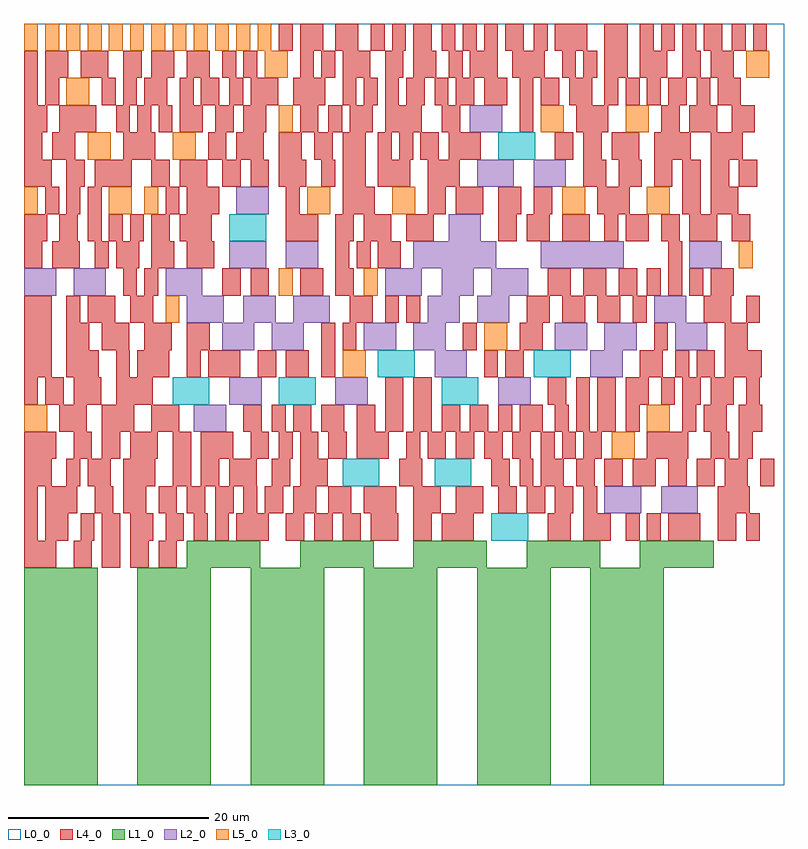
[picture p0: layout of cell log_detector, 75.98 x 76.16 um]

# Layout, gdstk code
import gdstk
lib = gdstk.Library(unit=1e-6, precision=1e-09)
def R(c, l, rs):  # rectangles x0, y0, x1, y1
    for r in rs: c.add(gdstk.rectangle(r[:2], r[2:], *l))
def A(c, l, x, y, w, h, nx, ny, dx, dy):  # array of equal rectangles
    R(c, l, [(x+i*dx, y+j*dy, x+i*dx+w, y+j*dy+h) for i in range(nx) for j in range(ny)])
L0_0 = (0, 0)
L1_0 = (1, 0)
L2_0 = (2, 0)
L3_0 = (3, 0)
L4_0 = (4, 0)
L5_0 = (5, 0)

log_detector = lib.new_cell('log_detector')
R(log_detector, L0_0, [(0,0,75.976,76.16)])
A(log_detector, L1_0, 0, 2.72, 7.36, 2.72, 6, 7, 11.323, 2.72)
A(log_detector, L1_0, 16.277, 21.76, 7.36, 2.72, 5, 1, 11.323, 0)
R(log_detector, L1_0, [(0,0,7.36,2.72), (0,0,7.36,2.72), (0,0,7.36,2.72), (11.323,0,18.683,2.72), (11.323,0,18.683,2.72), (11.323,0,18.683,2.72), (22.646,0,30.006,2.72), (22.646,0,30.006,2.72), (22.646,0,30.006,2.72), (33.969,0,41.329,2.72), (33.969,0,41.329,2.72), (45.292,0,52.652,2.72), (45.292,0,52.652,2.72), (56.615,0,63.975,2.72), (56.615,0,63.975,2.72)])
R(log_detector, L2_0, [(58.031,27.2,61.711,29.92), (63.692,27.2,67.372,29.92), (16.985,35.36,20.205,38.08), (20.523,38.08,23.743,40.8), (31.138,38.08,34.358,40.8), (47.415,38.08,50.635,40.8), (41.046,40.8,44.266,43.52), (56.615,40.8,59.835,43.52), (19.815,43.52,23.035,46.24), (24.769,43.52,27.989,46.24), (33.969,43.52,37.189,46.24), (38.923,43.52,42.143,46.24), (53.077,43.52,56.297,46.24), (58.031,43.52,61.251,46.24), (65.108,43.52,68.328,46.24), (16.277,46.24,19.957,48.96), (21.938,46.24,25.158,48.96), (26.892,46.24,30.572,48.96), (40.338,46.24,43.558,48.96), (45.292,46.24,48.512,48.96), (62.985,46.24,66.205,48.96), (0,48.96,3.22,51.68), (4.954,48.96,8.174,51.68), (14.154,48.96,17.834,51.68), (36.092,48.96,39.772,51.68), (41.754,48.96,44.974,51.68), (46.708,48.96,50.388,51.68), (20.523,51.68,24.203,54.4), (26.185,51.68,29.405,54.4), (38.923,51.68,47.203,54.4), (51.662,51.68,59.942,54.4), (66.523,51.68,69.743,54.4), (42.462,54.4,45.682,57.12), (21.231,57.12,24.451,59.84), (45.292,59.84,48.972,62.56), (50.954,59.84,54.174,62.56), (44.585,65.28,47.805,68)])
R(log_detector, L3_0, [(46.708,24.48,50.388,27.2), (31.846,29.92,35.526,32.64), (41.046,29.92,44.726,32.64), (14.862,38.08,18.542,40.8), (25.477,38.08,29.157,40.8), (41.754,38.08,45.434,40.8), (35.385,40.8,39.065,43.52), (50.954,40.8,54.634,43.52), (20.523,54.4,24.203,57.12), (47.415,62.56,51.095,65.28)])
A(log_detector, L4_0, 13.446, 27.2, 1.84, 2.72, 3, 1, 2.831, 0)
A(log_detector, L4_0, 47.415, 27.2, 1.84, 2.72, 3, 1, 2.831, 0)
A(log_detector, L4_0, 51.662, 29.92, 2.3, 2.72, 3, 1, 9.2, 0)
A(log_detector, L4_0, 40.338, 32.64, 1.84, 2.72, 4, 1, 2.831, 0)
A(log_detector, L4_0, 36.092, 35.36, 1.84, 2.72, 4, 1, 2.831, 0)
A(log_detector, L4_0, 0, 40.8, 2.76, 2.72, 1, 3, 0, 2.72)
A(log_detector, L4_0, 4.246, 40.8, 3.22, 2.72, 3, 1, 7.077, 0)
A(log_detector, L4_0, 62.277, 48.96, 1.38, 2.72, 3, 1, 2.123, 0)
A(log_detector, L4_0, 6.369, 54.4, 1.38, 2.72, 3, 1, 2.123, 0)
A(log_detector, L4_0, 31.138, 54.4, 1.84, 2.72, 3, 1, 16.277, 0)
A(log_detector, L4_0, 2.123, 57.12, 1.38, 2.72, 3, 1, 2.123, 0)
A(log_detector, L4_0, 65.815, 59.84, 1.84, 2.72, 3, 1, 2.831, 0)
A(log_detector, L4_0, 9.2, 65.28, 1.38, 2.72, 3, 1, 2.123, 0)
A(log_detector, L4_0, 31.846, 68, 1.38, 2.72, 3, 1, 2.123, 0)
A(log_detector, L4_0, 58.031, 68, 1.38, 2.72, 3, 1, 2.123, 0)
A(log_detector, L4_0, 41.754, 73.44, 1.38, 2.72, 3, 1, 2.123, 0)
A(log_detector, L4_0, 61.569, 73.44, 1.38, 2.72, 3, 1, 2.123, 0)
R(log_detector, L4_0, [(0,21.76,3.22,24.48), (4.954,21.76,6.794,24.48), (7.785,21.76,9.625,24.48), (10.615,21.76,12.455,24.48), (13.446,21.76,15.286,24.48), (0,24.48,1.38,27.2), (2.123,24.48,4.423,27.2), (5.662,24.48,7.042,27.2), (7.785,24.48,9.625,27.2), (10.615,24.48,12.915,27.2), (14.154,24.48,15.994,27.2), (16.985,24.48,18.365,27.2), (19.108,24.48,20.488,27.2), (21.231,24.48,24.451,27.2), (26.185,24.48,28.025,27.2), (29.015,24.48,30.855,27.2), (31.846,24.48,33.686,27.2), (34.677,24.48,37.437,27.2), (38.923,24.48,40.763,27.2), (41.754,24.48,44.974,27.2), (52.369,24.48,54.669,27.2), (55.908,24.48,58.668,27.2), (60.154,24.48,61.534,27.2), (62.277,24.48,63.657,27.2), (64.4,24.48,67.62,27.2), (69.354,24.48,71.194,27.2), (72.185,24.48,73.565,27.2), (0,27.2,1.38,29.92), (2.123,27.2,5.343,29.92), (7.077,27.2,8.917,29.92), (9.908,27.2,12.208,29.92), (21.938,27.2,23.318,29.92), (24.062,27.2,25.902,29.92), (26.892,27.2,29.192,29.92), (30.431,27.2,32.731,29.92), (33.969,27.2,37.189,29.92), (38.923,27.2,41.683,29.92), (43.169,27.2,45.929,29.92), (55.908,27.2,57.288,29.92), (69.354,27.2,72.574,29.92), (0,29.92,2.76,32.64), (4.246,29.92,5.626,32.64), (6.369,29.92,8.669,32.64), (9.908,29.92,13.128,32.64), (14.862,29.92,16.702,32.64), (17.692,29.92,19.532,32.64), (20.523,29.92,23.283,32.64), (24.769,29.92,26.609,32.64), (27.6,29.92,30.36,32.64), (37.508,29.92,39.808,32.64), (46.708,29.92,48.548,32.64), (49.538,29.92,50.918,32.64), (55.2,29.92,57.04,32.64), (58.031,29.92,59.871,32.64), (64.4,29.92,66.24,32.64), (67.231,29.92,69.071,32.64), (73.6,29.92,74.98,32.64), (0,32.64,3.22,35.36), (4.954,32.64,6.794,35.36), (7.785,32.64,9.625,35.36), (10.615,32.64,13.375,35.36), (14.862,32.64,16.702,35.36), (17.692,32.64,20.912,35.36), (22.646,32.64,24.486,35.36), (25.477,32.64,26.857,35.36), (27.6,32.64,29.44,35.36), (30.431,32.64,32.271,35.36), (33.262,32.64,36.482,35.36), (38.215,32.64,39.595,35.36), (51.662,32.64,53.042,35.36), (53.785,32.64,55.165,35.36), (55.908,32.64,57.748,35.36), (62.277,32.64,66.417,35.36), (68.646,32.64,70.486,35.36), (71.477,32.64,72.857,35.36), (3.538,35.36,6.298,38.08), (7.785,35.36,11.005,38.08), (12.738,35.36,15.498,38.08), (21.938,35.36,23.778,38.08), (24.769,35.36,26.149,38.08), (26.892,35.36,28.732,38.08), (29.723,35.36,32.023,38.08), (33.262,35.36,35.102,38.08), (47.415,35.36,48.795,38.08), (49.538,35.36,51.838,38.08), (53.077,35.36,54.457,38.08), (55.2,35.36,56.58,38.08), (57.323,35.36,59.163,38.08), (60.154,35.36,61.534,38.08), (65.815,35.36,67.195,38.08), (67.938,35.36,70.238,38.08), (71.477,35.36,73.777,38.08), (0,38.08,1.38,40.8), (2.123,38.08,3.963,40.8), (4.954,38.08,7.714,40.8), (9.2,38.08,12.88,40.8), (36.092,38.08,37.932,40.8), (38.923,38.08,40.763,40.8), (52.369,38.08,54.209,40.8), (55.2,38.08,56.58,40.8), (57.323,38.08,59.163,40.8), (60.154,38.08,62.454,40.8), (63.692,38.08,65.072,40.8), (65.815,38.08,67.655,40.8), (68.646,38.08,70.946,40.8), (72.185,38.08,73.565,40.8), (9.2,40.8,10.58,43.52), (16.277,40.8,17.657,43.52), (23.354,40.8,25.194,43.52), (26.185,40.8,28.485,43.52), (29.723,40.8,31.103,43.52), (46,40.8,47.38,43.52), (48.123,40.8,49.963,43.52), (61.569,40.8,63.869,43.52), (65.108,40.8,66.488,43.52), (67.231,40.8,69.071,43.52), (70.062,40.8,73.742,43.52), (4.246,43.52,6.546,46.24), (7.785,43.52,10.545,46.24), (12.031,43.52,14.791,46.24), (16.277,43.52,18.577,46.24), (29.723,43.52,31.103,46.24), (31.846,43.52,33.226,46.24), (43.877,43.52,45.257,46.24), (49.538,43.52,51.838,46.24), (62.985,43.52,64.365,46.24), (70.062,43.52,72.362,46.24), (4.246,46.24,5.626,48.96), (6.369,46.24,9.129,48.96), (10.615,46.24,12.915,48.96), (32.554,46.24,34.854,48.96), (36.092,46.24,37.472,48.96), (38.215,46.24,39.595,48.96), (50.246,46.24,52.546,48.96), (53.785,46.24,56.085,48.96), (57.323,46.24,59.623,48.96), (60.862,46.24,62.242,48.96), (67.938,46.24,70.698,48.96), (72.185,46.24,73.565,48.96), (9.908,48.96,11.288,51.68), (12.031,48.96,13.411,51.68), (19.815,48.96,21.655,51.68), (22.646,48.96,24.486,51.68), (27.6,48.96,29.9,51.68), (31.138,48.96,32.978,51.68), (52.369,48.96,54.669,51.68), (55.908,48.96,58.208,51.68), (59.446,48.96,61.286,51.68), (68.646,48.96,70.946,51.68), (0,51.68,1.84,54.4), (2.831,51.68,5.591,54.4), (7.077,51.68,8.457,54.4), (9.2,51.68,11.5,54.4), (12.738,51.68,15.038,54.4), (16.277,51.68,19.037,54.4), (31.138,51.68,32.518,54.4), (33.262,51.68,34.642,54.4), (35.385,51.68,37.685,54.4), (64.4,51.68,65.78,54.4), (0,54.4,2.3,57.12), (3.538,54.4,5.378,57.12), (12.738,54.4,14.578,57.12), (15.569,54.4,18.789,57.12), (26.185,54.4,29.405,57.12), (33.969,54.4,36.729,57.12), (38.215,54.4,40.975,57.12), (50.246,54.4,52.546,57.12), (53.785,54.4,56.545,57.12), (58.031,54.4,59.411,57.12), (60.154,54.4,62.454,57.12), (66.523,54.4,69.283,57.12), (70.769,54.4,72.609,57.12), (14.154,57.12,15.534,59.84), (16.277,57.12,19.497,59.84), (26.185,57.12,27.565,59.84), (31.846,57.12,35.066,59.84), (40.338,57.12,42.178,59.84), (43.169,57.12,45.929,59.84), (47.415,57.12,49.715,59.84), (50.954,57.12,52.794,59.84), (57.323,57.12,60.543,59.84), (65.815,57.12,67.655,59.84), (68.646,57.12,71.406,59.84), (0,59.84,2.76,62.56), (4.246,59.84,6.086,62.56), (7.077,59.84,10.757,62.56), (12.738,59.84,14.578,62.56), (15.569,59.84,18.329,62.56), (19.815,59.84,21.655,62.56), (22.646,59.84,24.486,62.56), (25.477,59.84,28.237,62.56), (29.723,59.84,31.103,62.56), (31.846,59.84,34.146,62.56), (35.385,59.84,38.605,62.56), (40.338,59.84,43.558,62.56), (55.908,59.84,58.208,62.56), (59.446,59.84,61.746,62.56), (62.985,59.84,64.825,62.56), (0,62.56,1.84,65.28), (2.831,62.56,5.131,65.28), (9.908,62.56,13.128,65.28), (18.4,62.56,20.24,65.28), (21.231,62.56,23.991,65.28), (25.477,62.56,27.777,65.28), (29.015,62.56,30.855,65.28), (31.846,62.56,34.146,65.28), (35.385,62.56,36.765,65.28), (37.508,62.56,38.888,65.28), (39.631,62.56,41.471,65.28), (42.462,62.56,45.682,65.28), (53.077,62.56,54.917,65.28), (55.908,62.56,57.748,65.28), (58.738,62.56,61.498,65.28), (62.985,62.56,66.665,65.28), (68.646,62.56,71.866,65.28), (0,65.28,2.3,68), (3.538,65.28,7.218,68), (15.569,65.28,17.869,68), (19.108,65.28,20.948,68), (21.938,65.28,24.238,68), (27.6,65.28,29.44,68), (30.431,65.28,31.811,68), (32.554,65.28,34.854,68), (36.092,65.28,39.772,68), (41.754,65.28,43.594,68), (49.538,65.28,50.918,68), (55.2,65.28,58.42,68), (63.692,65.28,65.532,68), (66.523,65.28,69.283,68), (70.769,65.28,73.069,68), (0,68,1.38,70.72), (2.123,68,3.503,70.72), (7.785,68,9.165,70.72), (9.908,68,11.288,70.72), (12.031,68,14.331,70.72), (15.569,68,16.949,70.72), (17.692,68,19.532,70.72), (20.523,68,21.903,70.72), (22.646,68,25.406,70.72), (26.892,68,30.112,70.72), (38.215,68,40.055,70.72), (41.046,68,42.426,70.72), (43.169,68,45.009,70.72), (46,68,48.3,70.72), (49.538,68,50.918,70.72), (51.662,68,53.502,70.72), (54.492,68,56.792,70.72), (64.4,68,66.24,70.72), (67.231,68,68.611,70.72), (69.354,68,71.654,70.72), (0,70.72,1.38,73.44), (2.123,70.72,4.423,73.44), (5.662,70.72,8.422,73.44), (9.908,70.72,11.748,73.44), (12.738,70.72,15.038,73.44), (16.277,70.72,18.577,73.44), (19.815,70.72,21.195,73.44), (21.938,70.72,23.318,73.44), (27.6,70.72,28.98,73.44), (29.723,70.72,31.103,73.44), (31.846,70.72,34.606,73.44), (36.092,70.72,37.932,73.44), (38.923,70.72,41.223,73.44), (42.462,70.72,43.842,73.44), (44.585,70.72,47.345,73.44), (48.831,70.72,52.051,73.44), (53.785,70.72,55.165,73.44), (55.908,70.72,57.288,73.44), (58.031,70.72,60.331,73.44), (61.569,70.72,64.329,73.44), (65.815,70.72,67.655,73.44), (68.646,70.72,70.946,73.44), (25.477,73.44,26.857,76.16), (27.6,73.44,29.9,76.16), (31.138,73.44,33.438,76.16), (34.677,73.44,36.057,76.16), (36.8,73.44,38.18,76.16), (38.923,73.44,40.763,76.16), (48.123,73.44,49.963,76.16), (50.954,73.44,52.334,76.16), (53.077,73.44,56.297,76.16), (58.031,73.44,60.331,76.16), (67.938,73.44,69.778,76.16), (70.769,73.44,72.149,76.16), (72.892,73.44,74.272,76.16)])
A(log_detector, L5_0, 0, 73.44, 1.38, 2.72, 7, 1, 2.123, 0)
A(log_detector, L5_0, 14.862, 73.44, 1.38, 2.72, 5, 1, 2.123, 0)
R(log_detector, L5_0, [(58.738,32.64,61.038,35.36), (0,35.36,2.3,38.08), (62.277,35.36,64.577,38.08), (31.846,40.8,34.146,43.52), (46,43.52,48.3,46.24), (14.154,46.24,15.534,48.96), (25.477,48.96,26.857,51.68), (33.969,48.96,35.349,51.68), (71.477,51.68,72.857,54.4), (0,57.12,1.38,59.84), (8.492,57.12,10.792,59.84), (12.031,57.12,13.411,59.84), (28.308,57.12,30.608,59.84), (36.8,57.12,39.1,59.84), (53.785,57.12,56.085,59.84), (62.277,57.12,64.577,59.84), (6.369,62.56,8.669,65.28), (14.862,62.56,17.162,65.28), (25.477,65.28,26.857,68), (51.662,65.28,53.962,68), (60.154,65.28,62.454,68), (4.246,68,6.546,70.72), (24.062,70.72,26.362,73.44), (72.185,70.72,74.485,73.44)])

lib.write_gds('log_detector.gds')
